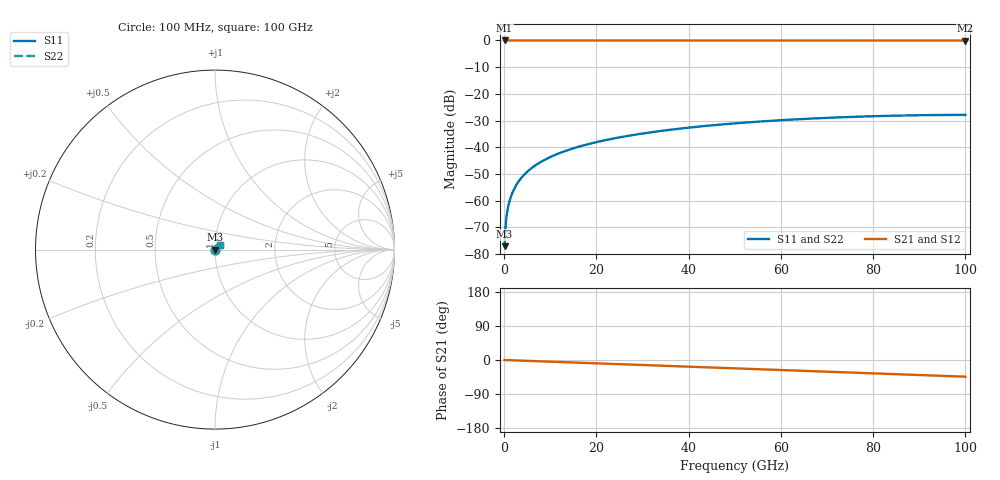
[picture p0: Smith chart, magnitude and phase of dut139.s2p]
! Touchstone file exported from HFSS 2026.1.0
!  File:  C:/ffzhzh/LocalFiles/Ansys_Project_Files/temp_train_TSV_139_1783506423_9504.aedt
!  Generated:  06:28:16 PM Jul  8, 2026
!  Design:  TSV
!  Project:  temp_train_TSV_139_1783506423_9504
! Variables:
!  h_bsmrdl = 2um
!  h_ox = 20um
!  h_rdl = 5um
!  h_sub = 86.16um
!  h_tmrdl = 5um
!  h_tsv = 86.16um
!  h_via = 3um
!  l_bsmrdl = 300um
!  l_sub = 425.14um
!  l_tmrdl = 200um
!  m_sub = 200um
!  pitch = 55.07um
!  r_tsv = 12.57um
!  s_tmrdl = 10um
!  w_bsmrdl = 18um
!  w_sub = 500um
!  w_tmrdl = 12um
!  x_tsv_center1 = 206um
!  x_tsv_center2 = 524um
!  x_tsv_center3 = 736um
!  x_tsv_center4 = 1054um
!  x_tsv_center5 = 1266um
!  x_tsv_center6 = 1584um
# GHz S MA R 50.000000
! Terminal data exported
! Port[1] = TSV1_1_T1
! Port[2] = TSV1_1_T2
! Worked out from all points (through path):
!   1000 points, 100 MHz to 100 GHz, reference 50 ohm
!   highest |S21| = 0.00 dB at 100 MHz (marker M1); lowest = 0.0 dB at 100 GHz (marker M2)
!   group delay of S21, straight-line fit = 1.22 ps
!   lowest |S11| = -77.0 dB at 100 MHz (marker M3), VSWR 1.00, Z = 50 + j0.0106 ohm
!   |S11| at or under -10 dB: start of sweep to end of sweep
!   |S22| runs from -77.0 to -27.9 dB; largest |S21 - S12| = 2.7e-15
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0.1  0.0001414 48.2  0.9999 -0.0  0.9999 -0.0  0.0001414 48.2
! Gamma 0 0 0 0
! Port Impedance 50 0 50 0
0.3  0.0003271 66.7  0.9999 -0.1  0.9999 -0.1  0.0003271 66.7
0.7  0.0006529 70.8  0.9998 -0.3  0.9998 -0.3  0.0006529 70.8
0.8  0.0007258 71.4  0.9998 -0.4  0.9998 -0.4  0.0007258 71.4
1  0.0008672 72.4  0.9997 -0.5  0.9997 -0.5  0.0008672 72.4
1.3  0.001075 73.8  0.9997 -0.6  0.9997 -0.6  0.001075 73.8
1.8  0.001415 75.4  0.9997 -0.8  0.9997 -0.8  0.001415 75.4
2.4  0.001817 76.6  0.9996 -1.1  0.9996 -1.1  0.001817 76.6
3.1  0.002277 77.4  0.9996 -1.4  0.9996 -1.4  0.002277 77.4
3.9  0.002792 78.0  0.9995 -1.7  0.9995 -1.7  0.002792 78.0
4.9  0.003426 78.4  0.9994 -2.2  0.9994 -2.2  0.003426 78.4
6.1  0.004178 78.7  0.9994 -2.7  0.9994 -2.7  0.004178 78.7
8.9  0.005909 78.7  0.9992 -3.9  0.9992 -3.9  0.005909 78.7
12.4  0.008035 78.1  0.9991 -5.5  0.9991 -5.5  0.008035 78.0
16.8  0.01065 76.9  0.9989 -7.4  0.9989 -7.4  0.01065 76.9
24.2  0.01491 74.5  0.9986 -10.6  0.9986 -10.6  0.01491 74.5
33.4  0.01995 71.2  0.9983 -14.7  0.9983 -14.7  0.01995 71.1
41.3  0.024 68.0  0.998 -18.1  0.998 -18.1  0.024 68.0
50.1  0.02812 64.4  0.9978 -22.0  0.9978 -22.0  0.02812 64.4
66.7  0.03457 57.5  0.9972 -29.3  0.9972 -29.3  0.03457 57.5
83.4  0.03892 50.4  0.9967 -36.7  0.9967 -36.7  0.03892 50.3
100  0.04045 43.3  0.9962 -44.1  0.9962 -44.1  0.04045 43.2
